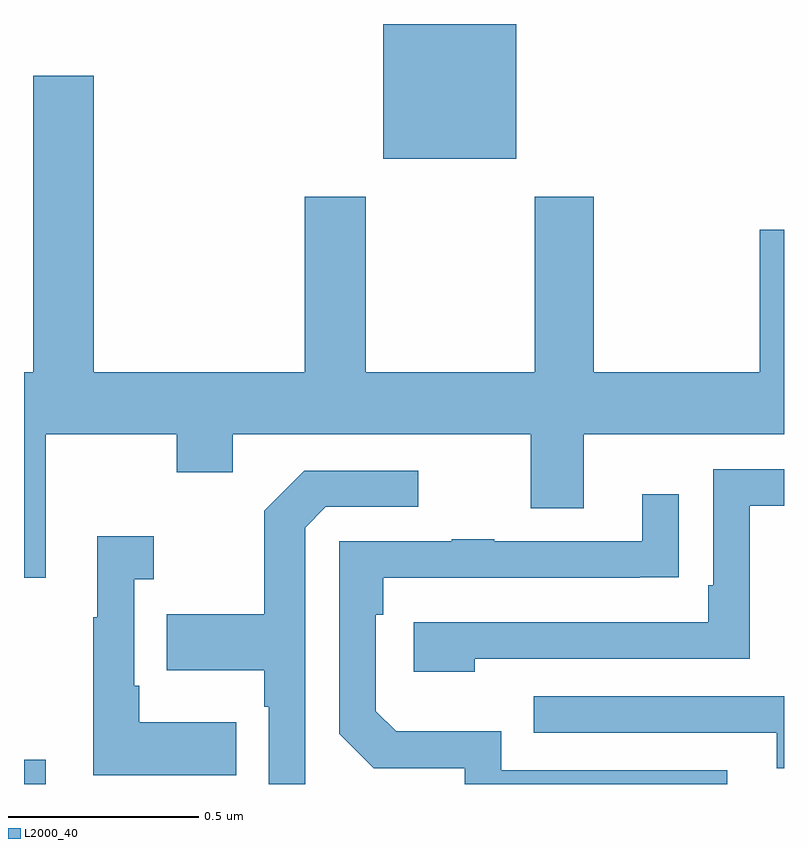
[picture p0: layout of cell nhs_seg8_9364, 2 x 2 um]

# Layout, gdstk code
import gdstk
lib = gdstk.Library(unit=1e-6, precision=1e-09)
def R(c, l, rs):  # rectangles x0, y0, x1, y1
    for r in rs: c.add(gdstk.rectangle(r[:2], r[2:], *l))
def P(c, l, *ps):  # polygons
    for p in ps: c.add(gdstk.Polygon(p, *l))
L2000_40 = (2000, 40)

nhs_seg8_9364 = lib.new_cell('nhs_seg8_9364')
R(nhs_seg8_9364, L2000_40, [(235,1128.9,235.057,1128.964), (235.946,1130.546,236.296,1130.9)])
P(nhs_seg8_9364, L2000_40, [(235.057,1129.82),(235.402,1129.82),(235.402,1129.721),(235.549,1129.721),(235.549,1129.82),(236.333,1129.82),(236.333,1129.626),(236.473,1129.626),(236.473,1129.82),(237,1129.82),(237,1130.359),(236.936,1130.359),(236.936,1129.984),(236.499,1129.984),(236.499,1130.446),(236.344,1130.446),(236.344,1129.984),(235.899,1129.984),(235.899,1130.446),(235.739,1130.446),(235.739,1129.984),(235.184,1129.984),(235.184,1130.764),(235.024,1130.764),(235.024,1129.984),(235,1129.984),(235,1129.443),(235.057,1129.443)],
  [(236.186,1129.23),(236.91,1129.23),(236.91,1129.632),(237,1129.632),(237,1129.728),(236.814,1129.728),(236.814,1129.423),(236.801,1129.423),(236.801,1129.326),(236.025,1129.326),(236.025,1129.196),(236.186,1129.196)],
  [(235.74,1129.575),(235.794,1129.629),(236.038,1129.629),(236.038,1129.725),(235.737,1129.725),(235.632,1129.619),(235.632,1129.347),(235.375,1129.347),(235.375,1129.199),(235.632,1129.199),(235.632,1129.103),(235.644,1129.103),(235.644,1128.9),(235.74,1128.9)],
  [(236.851,1128.936),(236.256,1128.936),(236.256,1129.039),(235.979,1129.039),(235.926,1129.092),(235.926,1129.346),(235.946,1129.346),(235.946,1129.443),(236.621,1129.443),(236.621,1129.444),(236.723,1129.444),(236.723,1129.663),(236.627,1129.663),(236.627,1129.539),(236.237,1129.539),(236.237,1129.544),(236.125,1129.544),(236.125,1129.539),(235.83,1129.539),(235.83,1129.032),(235.92,1128.942),(236.16,1128.942),(236.16,1128.9),(236.851,1128.9)],
  [(235.559,1129.063),(235.303,1129.063),(235.303,1129.159),(235.29,1129.159),(235.29,1129.439),(235.342,1129.439),(235.342,1129.552),(235.193,1129.552),(235.193,1129.339),(235.182,1129.339),(235.182,1128.923),(235.559,1128.923)],
  [(237,1129.131),(236.341,1129.131),(236.341,1129.035),(236.981,1129.035),(236.981,1128.941),(237,1128.941)])

lib.write_gds('nhs_seg8_9364.gds')
